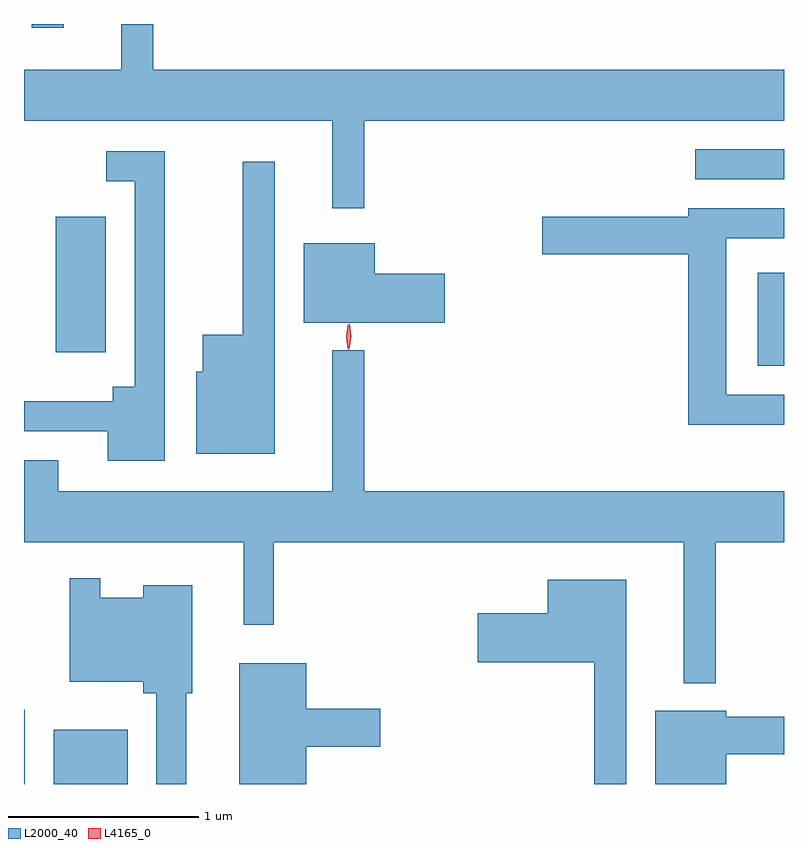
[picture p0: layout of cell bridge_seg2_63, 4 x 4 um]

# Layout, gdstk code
import gdstk
lib = gdstk.Library(unit=1e-6, precision=1e-09)
def R(c, l, rs):  # rectangles x0, y0, x1, y1
    for r in rs: c.add(gdstk.rectangle(r[:2], r[2:], *l))
def P(c, l, *ps):  # polygons
    for p in ps: c.add(gdstk.Polygon(p, *l))
L2000_40 = (2000, 40)
L4165_0 = (4165, 0)

bridge_seg2_63 = lib.new_cell('bridge_seg2_63')
R(bridge_seg2_63, L2000_40, [(1121.629,1073.684,1121.634,1074.074), (1121.786,1073.684,1122.174,1073.969), (1125.491,1075.886,1125.629,1076.374), (1121.796,1075.956,1122.059,1076.669), (1125.163,1076.866,1125.629,1077.024), (1121.671,1077.663,1121.839,1077.684)])
P(bridge_seg2_63, L2000_40, [(1123.419,1077.176),(1125.629,1077.176),(1125.629,1077.444),(1122.309,1077.444),(1122.309,1077.684),(1122.141,1077.684),(1122.141,1077.444),(1121.629,1077.444),(1121.629,1077.176),(1123.251,1077.176),(1123.251,1076.713),(1123.419,1076.713)],
  [(1122.369,1077.014),(1122.063,1077.014),(1122.063,1076.856),(1122.211,1076.856),(1122.211,1075.774),(1122.096,1075.774),(1122.096,1075.699),(1121.629,1075.699),(1121.629,1075.541),(1122.071,1075.541),(1122.071,1075.386),(1122.369,1075.386)],
  [(1122.949,1076.958),(1122.781,1076.958),(1122.781,1076.049),(1122.571,1076.049),(1122.571,1075.854),(1122.536,1075.854),(1122.536,1075.421),(1122.949,1075.421)],
  [(1125.629,1075.734),(1125.324,1075.734),(1125.324,1076.556),(1125.629,1076.556),(1125.629,1076.714),(1125.126,1076.714),(1125.126,1076.669),(1124.356,1076.669),(1124.356,1076.471),(1125.126,1076.471),(1125.126,1075.576),(1125.629,1075.576)],
  [(1123.844,1076.369),(1123.474,1076.369),(1123.474,1076.529),(1123.101,1076.529),(1123.101,1076.111),(1123.844,1076.111)],
  [(1125.269,1074.956),(1125.629,1074.956),(1125.629,1075.224),(1123.419,1075.224),(1123.419,1075.968),(1123.251,1075.968),(1123.251,1075.224),(1121.809,1075.224),(1121.809,1075.389),(1121.629,1075.389),(1121.629,1074.956),(1122.786,1074.956),(1122.786,1074.523),(1122.944,1074.523),(1122.944,1074.956),(1125.101,1074.956),(1125.101,1074.213),(1125.269,1074.213)],
  [(1122.484,1074.161),(1122.514,1074.161),(1122.514,1074.729),(1122.256,1074.729),(1122.256,1074.664),(1122.029,1074.664),(1122.029,1074.768),(1121.871,1074.768),(1121.871,1074.221),(1122.256,1074.221),(1122.256,1074.161),(1122.326,1074.161),(1122.326,1073.684),(1122.484,1073.684)],
  [(1124.799,1074.759),(1124.386,1074.759),(1124.386,1074.584),(1124.016,1074.584),(1124.016,1074.326),(1124.631,1074.326),(1124.631,1073.684),(1124.799,1073.684)],
  [(1123.114,1073.881),(1123.504,1073.881),(1123.504,1074.079),(1123.114,1074.079),(1123.114,1074.319),(1122.761,1074.319),(1122.761,1073.684),(1123.114,1073.684)],
  [(1125.324,1073.841),(1125.629,1073.841),(1125.629,1074.039),(1125.324,1074.039),(1125.324,1074.069),(1124.951,1074.069),(1124.951,1073.684),(1125.324,1073.684)])
P(bridge_seg2_63, L4165_0, [(1123.34,1075.97),(1123.332,1076.038),(1123.342,1076.106),(1123.342,1076.106),(1123.343,1076.106),(1123.352,1076.038),(1123.341,1075.97),(1123.341,1075.97)],
  [(1123.335,1075.973),(1123.334,1075.974),(1123.325,1076.036),(1123.334,1076.1),(1123.334,1076.1),(1123.335,1076.1),(1123.345,1076.036),(1123.335,1075.974)])

lib.write_gds('bridge_seg2_63.gds')
